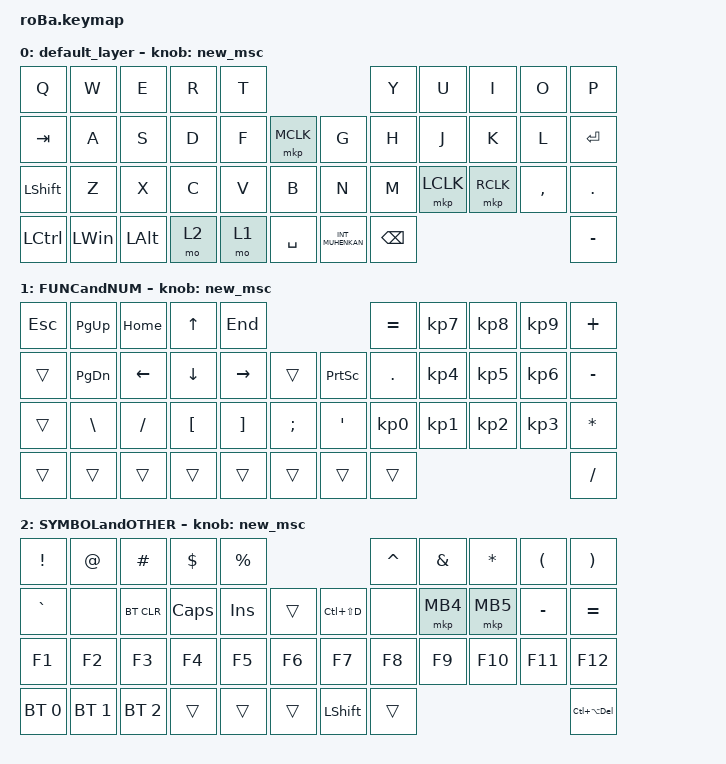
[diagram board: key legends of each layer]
#include <behaviors.dtsi>
#include <dt-bindings/zmk/bt.h>
#include <dt-bindings/zmk/keys.h>
#include <dt-bindings/zmk/pointing.h>

#define SCROLL 3
#define NUM 6
#define ZMK_POINTING_DEFAULT_SCRL_VAL 100

&mt {
    flavor = "balanced";
    quick-tap-ms = <0>;
};

/ {
    combos { compatible = "zmk,combos"; };

    macros {
        to_layer_0: to_layer_0 {
            compatible = "zmk,behavior-macro-one-param";
            #binding-cells = <1>;
            bindings = <&to 0 &macro_param_1to1 &kp MACRO_PLACEHOLDER>;
            label = "TO_LAYER_0";
        };

        change_IME: change_IME {
            compatible = "zmk,behavior-macro";
            #binding-cells = <0>;
            bindings =
                <&kp LA(GRAVE) &kp ESCAPE>,
                <&macro_wait_time 50>,
                <&macro_tap_time 50>;

            label = "CHANGE_IME";
        };
    };

    behaviors {
        lt_to_layer_0: lt_to_layer_0 {
            compatible = "zmk,behavior-hold-tap";
            label = "LAYER_TAP_TO_0";
            bindings = <&mo>, <&to_layer_0>;

            #binding-cells = <2>;
            tapping-term-ms = <200>;
        };

        new_msc: new_msc {
            compatible = "zmk,behavior-sensor-rotate";
            label = "NEW_MSC";
            #sensor-binding-cells = <0>;
            bindings = <&msc SCRL_DOWN>, <&msc SCRL_UP>;

            tap-ms = <20>;
        };
    };

    keymap {
        compatible = "zmk,keymap";

        default_layer {
            bindings = <
&kp Q           &kp W         &kp E         &kp R  &kp T                                   &kp Y          &kp U      &kp I      &kp O      &kp P
&kp TAB         &kp A         &kp S         &kp D  &kp F  &mkp MCLK      &kp G             &kp H          &kp J      &kp K      &kp L      &kp ENTER
&kp LEFT_SHIFT  &kp Z         &kp X         &kp C  &kp V  &kp B          &kp N             &kp M          &mkp LCLK  &mkp RCLK  &kp COMMA  &kp PERIOD
&kp LCTRL       &kp LEFT_WIN  &kp LEFT_ALT  &mo 2  &mo 1  &kp SPACE      &kp INT_MUHENKAN  &kp BACKSPACE                                   &kp MINUS
            >;

            sensor-bindings = <&new_msc>;
        };

        FUNCandNUM {
            bindings = <
&kp ESC  &kp PAGE_UP    &kp HOME   &kp UP            &kp END                                                 &kp EQUAL        &kp KP_NUMBER_7  &kp KP_NUMBER_8  &kp KP_NUMBER_9  &kp PLUS
&trans   &kp PAGE_DOWN  &kp LEFT   &kp DOWN          &kp RIGHT          &trans             &kp PRINTSCREEN   &kp DOT          &kp KP_NUMBER_4  &kp KP_NUMBER_5  &kp KP_NUMBER_6  &kp MINUS
&trans   &kp BACKSLASH  &kp SLASH  &kp LEFT_BRACKET  &kp RIGHT_BRACKET  &kp SEMICOLON      &kp SINGLE_QUOTE  &kp KP_NUMBER_0  &kp KP_NUMBER_1  &kp KP_NUMBER_2  &kp KP_NUMBER_3  &kp ASTERISK
&trans   &trans         &trans     &trans            &trans             &trans             &trans            &trans                                                              &kp SLASH
            >;

            sensor-bindings = <&new_msc>;
        };

        SYMBOLandOTHER {
            bindings = <
&kp EXCLAMATION  &kp AT_SIGN   &kp HASH      &kp DOLLAR    &kp PERCENT                              &kp CARET  &kp AMPERSAND  &kp ASTERISK  &kp LEFT_PARENTHESIS  &kp RIGHT_PARENTHESIS
&kp GRAVE        &none         &bt BT_CLR    &kp CAPSLOCK  &kp INSERT   &trans      &kp LC(LS(D))   &none      &mkp MB4       &mkp MB5      &kp MINUS             &kp EQUAL
&kp F1           &kp F2        &kp F3        &kp F4        &kp F5       &kp F6      &kp F7          &kp F8     &kp F9         &kp F10       &kp F11               &kp F12
&bt BT_SEL 0     &bt BT_SEL 1  &bt BT_SEL 2  &trans        &trans       &trans      &kp LEFT_SHIFT  &trans                                                        &kp LC(LA(DELETE))
            >;

            sensor-bindings = <&new_msc>;
        };
    };
};
